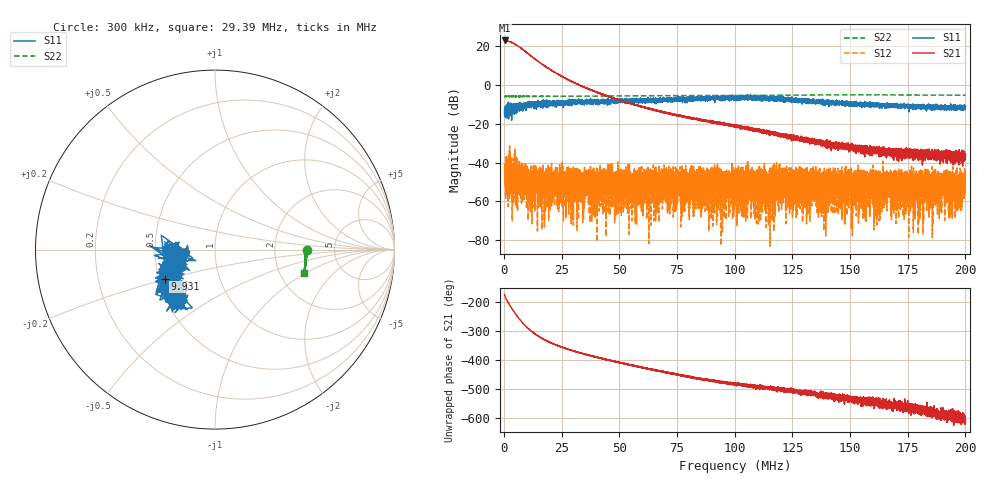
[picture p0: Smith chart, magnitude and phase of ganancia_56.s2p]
# Hz S DB R 50
! CMT, M5065, 19127446, 24.2.4/2
! Date: 11/8/2024 5:33:32 PM
! Data: Format (Calibration Info)
! Freq	S11:dB/Ang(F2)	S21:dB/Ang(F2)	S12:dB/Ang(F2)	S22:dB/Ang(F2)
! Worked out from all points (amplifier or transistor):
!   9000 points, 300 kHz to 200 MHz, reference 50 ohm
!   highest |S21| = 23.0 dB at 388.8 kHz (marker M1)
!   |S21| within 3 dB of that: start of sweep to 6.217 MHz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
!   unconditionally stable (mu >= 1): start of sweep to end of sweep
!   at 33.59 MHz: K = 80.11, MAG = 1.4 dB, |S12| = -47.4 dB
!   at 100.2 MHz: K = 543.74, MAG = -19.4 dB, |S12| = -43.8 dB
!   at 200 MHz: K = 4484.57, MAG = -33.6 dB, |S12| = -47.4 dB
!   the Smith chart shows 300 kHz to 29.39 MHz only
!   S11 on the Smith chart (normalised r, x): 300 kHz: 0.69, -0.04; 9.931 MHz: 0.54, -0.20; 29.39 MHz: 0.59, -0.37
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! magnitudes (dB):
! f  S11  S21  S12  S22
! 300 kHz  -14.7  22.9  -41.8  -5.8
! 388.8 kHz  -13.5  23.0  -46.7  -5.9
! 9.931 MHz  -9.7  16.7  -52.9  -5.9
! 11.2 MHz  -9.7  15.5  -53.7  -5.8
! 13.17 MHz  -10.9  13.6  -50.3  -5.9
! 15.52 MHz  -10.6  11.6  -48.7  -5.9
! 21.36 MHz  -8.8  7.0  -47.2  -5.9
! 29.39 MHz  -9.4  1.8  -47.7  -5.8
! 33.59 MHz  -9.4  -0.4  -47.4  -5.8
! 66.87 MHz  -8.5  -13.4  -51.3  -5.5
! 100.2 MHz  -7.0  -21.8  -43.8  -5.4
! 112.5 MHz  -7.0  -24.6  -51.8  -5.4
! 114.5 MHz  -7.2  -24.3  -58.1  -5.4
! 118.8 MHz  -7.7  -25.3  -43.9  -5.3
! 123.1 MHz  -7.1  -27.0  -58.5  -5.3
! 133.4 MHz  -8.6  -30.1  -62.3  -5.1
! 136.8 MHz  -8.0  -30.1  -56.9  -5.1
! 143.1 MHz  -9.4  -30.4  -44.9  -5.1
! 145.2 MHz  -8.6  -32.1  -47.9  -5.1
! 166.7 MHz  -11.0  -35.2  -47.1  -5.1
! 196.2 MHz  -12.1  -35.5  -52.1  -5.3
! 200 MHz  -11.5  -35.4  -47.4  -5.3
